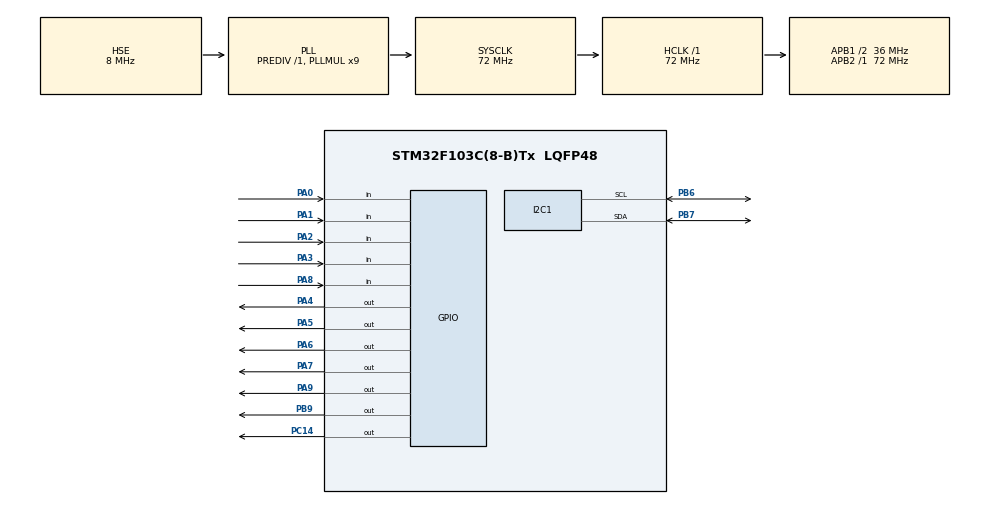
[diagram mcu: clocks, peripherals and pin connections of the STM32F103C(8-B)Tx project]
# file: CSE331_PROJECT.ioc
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I2C1.I2C_Mode=I2C_Fast
Mcu.Family=STM32F1
Mcu.Name=STM32F103C(8-B)Tx
Mcu.Package=LQFP48
NVIC.PriorityGroup=NVIC_PRIORITYGROUP_4
PA0-WKUP.Signal=GPIO_Input
PA1.Signal=GPIO_Input
PA13.Mode=Serial_Wire
PA13.Signal=SYS_JTMS-SWDIO
PA14.Mode=Serial_Wire
PA14.Signal=SYS_JTCK-SWCLK
PA2.Signal=GPIO_Input
PA3.Signal=GPIO_Input
PA4.Signal=GPIO_Output
PA5.Signal=GPIO_Output
PA6.Signal=GPIO_Output
PA7.Signal=GPIO_Output
PA8.Signal=GPIO_Input
PA9.Signal=GPIO_Output
PB6.Mode=I2C
PB6.Signal=I2C1_SCL
PB7.Mode=I2C
PB7.Signal=I2C1_SDA
PB9.Signal=GPIO_Output
PC14-OSC32_IN.Signal=GPIO_Output
PD0-OSC_IN.Mode=HSE-External-Oscillator
PD0-OSC_IN.Signal=RCC_OSC_IN
PD1-OSC_OUT.Mode=HSE-External-Oscillator
PD1-OSC_OUT.Signal=RCC_OSC_OUT
ProjectManager.HeapSize=0x200
ProjectManager.StackSize=0x400
ProjectManager.TargetToolchain=MDK-ARM V5.32
RCC.AHBFreq_Value=72000000
RCC.APB1CLKDivider=RCC_HCLK_DIV2
RCC.APB1Freq_Value=36000000
RCC.APB1TimFreq_Value=72000000
RCC.APB2Freq_Value=72000000
RCC.APB2TimFreq_Value=72000000
RCC.HCLKFreq_Value=72000000
RCC.PLLMUL=RCC_PLL_MUL9
RCC.PLLSourceVirtual=RCC_PLLSOURCE_HSE
RCC.SYSCLKFreq_VALUE=72000000
RCC.SYSCLKSource=RCC_SYSCLKSOURCE_PLLCLK
RCC.USBFreq_Value=72000000
TIM1.Prescaler=71
VP_TIM1_VS_ClockSourceINT.Mode=Internal
board=custom

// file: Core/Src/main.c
/* USER CODE BEGIN Header */
/**
  ******************************************************************************
  * @file           : main.c
  * @brief          : Main program body
  ******************************************************************************
  * @attention
  *
  * Copyright (c) 2025 STMicroelectronics.
  * All rights reserved.
  *
  * This software is licensed under terms that can be found in the LICENSE file
  * in the root directory of this software component.
  * If no LICENSE file comes with this software, it is provided AS-IS.
  *
  ******************************************************************************
  */
/* USER CODE END Header */
#include "main.h"
#include <stdlib.h>
#include <stdio.h>

/* USER CODE BEGIN Includes */
#include "fonts.h"
#include "ssd1306.h"

/* Private includes ----------------------------------------------------------*/
/* USER CODE BEGIN Includes */

/* USER CODE END Includes */

/* USER CODE BEGIN PD */
#define R1_GPIO_Port GPIOA
#define R1_Pin GPIO_PIN_7

#define R2_GPIO_Port GPIOA
#define R2_Pin GPIO_PIN_6

#define R3_GPIO_Port GPIOA
#define R3_Pin GPIO_PIN_5

#define R4_GPIO_Port GPIOA
#define R4_Pin GPIO_PIN_4

#define C1_GPIO_Port GPIOA
#define C1_Pin GPIO_PIN_3

#define C2_GPIO_Port GPIOA
#define C2_Pin GPIO_PIN_2

#define C3_GPIO_Port GPIOA
#define C3_Pin GPIO_PIN_1

#define C4_GPIO_Port GPIOA
#define C4_Pin GPIO_PIN_0

/* USER CODE END PD */

I2C_HandleTypeDef hi2c1;

TIM_HandleTypeDef htim1;

/* USER CODE BEGIN PV */
#define TRIG_PIN GPIO_PIN_9
#define TRIG_PORT GPIOA
#define ECHO_PIN GPIO_PIN_8
#define ECHO_PORT GPIOA
uint32_t pMillis;
uint32_t Value1 = 0;
uint32_t Value2 = 0;
uint16_t Distance  = 0;  // cm

/* USER CODE END PV */

void SystemClock_Config(void);
static void MX_GPIO_Init(void);
static void MX_I2C1_Init(void);
static void MX_TIM1_Init(void);

/* USER CODE BEGIN 0 */
char read_keypad (void)
{
	/* Make ROW 1 LOW and all other ROWs HIGH */
	HAL_GPIO_WritePin (R1_GPIO_Port, R1_Pin, GPIO_PIN_RESET);  //Pull the R1 low
	HAL_GPIO_WritePin (R2_GPIO_Port, R2_Pin, GPIO_PIN_SET);  // Pull the R2 High
	HAL_GPIO_WritePin (R3_GPIO_Port, R3_Pin, GPIO_PIN_SET);  // Pull the R3 High
	HAL_GPIO_WritePin (R4_GPIO_Port, R4_Pin, GPIO_PIN_SET);  // Pull the R4 High

	if (!(HAL_GPIO_ReadPin (C1_GPIO_Port, C1_Pin)))   // if the Col 1 is low
	{
		while (!(HAL_GPIO_ReadPin (C1_GPIO_Port, C1_Pin)));   // wait till the button is pressed
		return 'D';
	}

	if (!(HAL_GPIO_ReadPin (C2_GPIO_Port, C2_Pin)))   // if the Col 2 is low
	{
		while (!(HAL_GPIO_ReadPin (C2_GPIO_Port, C2_Pin)));   // wait till the button is pressed
		return 'C';
	}

	if (!(HAL_GPIO_ReadPin (C3_GPIO_Port, C3_Pin)))   // if the Col 3 is low
	{
		while (!(HAL_GPIO_ReadPin (C3_GPIO_Port, C3_Pin)));   // wait till the button is pressed
		return 'B';
	}

	if (!(HAL_GPIO_ReadPin (C4_GPIO_Port, C4_Pin)))   // if the Col 4 is low
	{
		while (!(HAL_GPIO_ReadPin (C4_GPIO_Port, C4_Pin)));   // wait till the button is pressed
		return 'A';
	}

	/* Make ROW 2 LOW and all other ROWs HIGH */
	HAL_GPIO_WritePin (R1_GPIO_Port, R1_Pin, GPIO_PIN_SET);  //Pull the R1 low
	HAL_GPIO_WritePin (R2_GPIO_Port, R2_Pin, GPIO_PIN_RESET);  // Pull the R2 High
	HAL_GPIO_WritePin (R3_GPIO_Port, R3_Pin, GPIO_PIN_SET);  // Pull the R3 High
	HAL_GPIO_WritePin (R4_GPIO_Port, R4_Pin, GPIO_PIN_SET);  // Pull the R4 High

	if (!(HAL_GPIO_ReadPin (C1_GPIO_Port, C1_Pin)))   // if the Col 1 is low
	{
		while (!(HAL_GPIO_ReadPin (C1_GPIO_Port, C1_Pin)));   // wait till the button is pressed
		return '#';
	}

	if (!(HAL_GPIO_ReadPin (C2_GPIO_Port, C2_Pin)))   // if the Col 2 is low
	{
		while (!(HAL_GPIO_ReadPin (C2_GPIO_Port, C2_Pin)));   // wait till the button is pressed
		return '9';
	}

	if (!(HAL_GPIO_ReadPin (C3_GPIO_Port, C3_Pin)))   // if the Col 3 is low
	{
		while (!(HAL_GPIO_ReadPin (C3_GPIO_Port, C3_Pin)));   // wait till the button is pressed
		return '6';
	}

	if (!(HAL_GPIO_ReadPin (C4_GPIO_Port, C4_Pin)))   // if the Col 4 is low
	{
		while (!(HAL_GPIO_ReadPin (C4_GPIO_Port, C4_Pin)));   // wait till the button is pressed
		return '3';
	}

	/* Make ROW 3 LOW and all other ROWs HIGH */
	HAL_GPIO_WritePin (R1_GPIO_Port, R1_Pin, GPIO_PIN_SET);  //Pull the R1 low
	HAL_GPIO_WritePin (R2_GPIO_Port, R2_Pin, GPIO_PIN_SET);  // Pull the R2 High
	HAL_GPIO_WritePin (R3_GPIO_Port, R3_Pin, GPIO_PIN_RESET);  // Pull the R3 High
	HAL_GPIO_WritePin (R4_GPIO_Port, R4_Pin, GPIO_PIN_SET);  // Pull the R4 High

	if (!(HAL_GPIO_ReadPin (C1_GPIO_Port, C1_Pin)))   // if the Col 1 is low
	{
		while (!(HAL_GPIO_ReadPin (C1_GPIO_Port, C1_Pin)));   // wait till the button is pressed
		return '0';
	}

	if (!(HAL_GPIO_ReadPin (C2_GPIO_Port, C2_Pin)))   // if the Col 2 is low
	{
		while (!(HAL_GPIO_ReadPin (C2_GPIO_Port, C2_Pin)));   // wait till the button is pressed
		return '8';
	}

	if (!(HAL_GPIO_ReadPin (C3_GPIO_Port, C3_Pin)))   // if the Col 3 is low
	{
		while (!(HAL_GPIO_ReadPin (C3_GPIO_Port, C3_Pin)));   // wait till the button is pressed
		return '5';
	}

	if (!(HAL_GPIO_ReadPin (C4_GPIO_Port, C4_Pin)))   // if the Col 4 is low
	{
		while (!(HAL_GPIO_ReadPin (C4_GPIO_Port, C4_Pin)));   // wait till the button is pressed
		return '2';
	}

	/* Make ROW 4 LOW and all other ROWs HIGH */
	HAL_GPIO_WritePin (R1_GPIO_Port, R1_Pin, GPIO_PIN_SET);  //Pull the R1 low
	HAL_GPIO_WritePin (R2_GPIO_Port, R2_Pin, GPIO_PIN_SET);  // Pull the R2 High
	HAL_GPIO_WritePin (R3_GPIO_Port, R3_Pin, GPIO_PIN_SET);  // Pull the R3 High
	HAL_GPIO_WritePin (R4_GPIO_Port, R4_Pin, GPIO_PIN_RESET);  // Pull the R4 High

	if (!(HAL_GPIO_ReadPin (C1_GPIO_Port, C1_Pin)))   // if the Col 1 is low
	{
		while (!(HAL_GPIO_ReadPin (C1_GPIO_Port, C1_Pin)));   // wait till the button is pressed
		return '*';
	}

	if (!(HAL_GPIO_ReadPin (C2_GPIO_Port, C2_Pin)))   // if the Col 2 is low
	{
		while (!(HAL_GPIO_ReadPin (C2_GPIO_Port, C2_Pin)));   // wait till the button is pressed
		return '7';
	}

	if (!(HAL_GPIO_ReadPin (C3_GPIO_Port, C3_Pin)))   // if the Col 3 is low
	{
		while (!(HAL_GPIO_ReadPin (C3_GPIO_Port, C3_Pin)));   // wait till the button is pressed
		return '4';
	}

	if (!(HAL_GPIO_ReadPin (C4_GPIO_Port, C4_Pin)))   // if the Col 4 is low
	{
		while (!(HAL_GPIO_ReadPin (C4_GPIO_Port, C4_Pin)));   // wait till the button is pressed
		return '1';
	}

	return 0x01;  // /if nothing is pressed

}

uint8_t key;
/* USER CODE END 0 */

int main(void)
{

  /* MCU Configuration--------------------------------------------------------*/

  /* Reset of all peripherals, Initializes the Flash interface and the Systick. */
  HAL_Init();

  /* Configure the system clock */
  SystemClock_Config();

  /* Initialize all configured peripherals */
  MX_GPIO_Init();
  MX_I2C1_Init();
  MX_TIM1_Init();
  /* USER CODE BEGIN 2 */

	SSD1306_Init();
  char snum[5];
	// Knum to hold the key
	char knum[5];

  SSD1306_GotoXY (0,0);
  SSD1306_Puts ("Distance cm", &Font_11x18, 1);

	//IR sensor code
	HAL_TIM_Base_Start(&htim1);
  HAL_GPIO_WritePin(TRIG_PORT, TRIG_PIN, GPIO_PIN_RESET);

  /* USER CODE END 2 */

  /* Infinite loop */
  while (1)
  {
			HAL_GPIO_WritePin(TRIG_PORT, TRIG_PIN, GPIO_PIN_SET);  // pull the TRIG pin HIGH
    __HAL_TIM_SET_COUNTER(&htim1, 0);
    while (__HAL_TIM_GET_COUNTER (&htim1) < 10);  // wait for 10 us
    HAL_GPIO_WritePin(TRIG_PORT, TRIG_PIN, GPIO_PIN_RESET);  // pull the TRIG pin low

    pMillis = HAL_GetTick(); // used this to avoid infinite while loop  (for timeout)
    // wait for the echo pin to go high
    while (!(HAL_GPIO_ReadPin (ECHO_PORT, ECHO_PIN)) && pMillis + 10 >  HAL_GetTick());
    Value1 = __HAL_TIM_GET_COUNTER (&htim1);

    pMillis = HAL_GetTick(); // used this to avoid infinite while loop (for timeout)
    // wait for the echo pin to go low
    while ((HAL_GPIO_ReadPin (ECHO_PORT, ECHO_PIN)) && pMillis + 50 > HAL_GetTick());
    Value2 = __HAL_TIM_GET_COUNTER (&htim1);

    Distance = (Value2-Value1)* 0.034/2;

		key = read_keypad ();
		if(key!= 0x01)
		{
				SSD1306_Clear();
				sprintf(knum, "%c", key);
				SSD1306_GotoXY (0, 0);
				SSD1306_Puts ("Key pressed:", &Font_11x18, 1);
				SSD1306_GotoXY (0, 30);
				SSD1306_Puts (knum, &Font_11x18, 1);
				SSD1306_UpdateScreen();
				HAL_Delay(800);

				SSD1306_GotoXY (0,0);
				SSD1306_Puts ("Distance cm", &Font_11x18, 1);
		}

		// key is ascii value. So -48 to convert to number
		if(Distance< (key-48)){
			HAL_GPIO_WritePin(GPIOC, GPIO_PIN_14, 1);

		}
		else{
			HAL_GPIO_WritePin(GPIOC, GPIO_PIN_14, 0);
		}

			sprintf(snum, "%d", Distance);
			SSD1306_GotoXY (0, 30);
			SSD1306_Puts ("             ", &Font_16x26, 1);
			SSD1306_UpdateScreen();
			if(Distance < 10) {
				SSD1306_GotoXY (53, 30);  // 1 DIGIT
			}
			else if (Distance < 100 ) {
				SSD1306_GotoXY (45, 30);  // 2 DIGITS
			}
			else if (Distance < 1000 ) {
				SSD1306_GotoXY (37, 30);  // 3 DIGITS
			}
			else {
				SSD1306_GotoXY (30, 30);  // 4 DIGIS
			}
			SSD1306_Puts (snum, &Font_16x26, 1);

			SSD1306_UpdateScreen();
			HAL_Delay (100);
	  //}

  }
}

void SystemClock_Config(void)
{
  RCC_OscInitTypeDef RCC_OscInitStruct = {0};
  RCC_ClkInitTypeDef RCC_ClkInitStruct = {0};

  /** Initializes the RCC Oscillators according to the specified parameters
  * in the RCC_OscInitTypeDef structure.
  */
  RCC_OscInitStruct.OscillatorType = RCC_OSCILLATORTYPE_HSE;
  RCC_OscInitStruct.HSEState = RCC_HSE_ON;
  RCC_OscInitStruct.HSEPredivValue = RCC_HSE_PREDIV_DIV1;
  RCC_OscInitStruct.HSIState = RCC_HSI_ON;
  RCC_OscInitStruct.PLL.PLLState = RCC_PLL_ON;
  RCC_OscInitStruct.PLL.PLLSource = RCC_PLLSOURCE_HSE;
  RCC_OscInitStruct.PLL.PLLMUL = RCC_PLL_MUL9;
  if (HAL_RCC_OscConfig(&RCC_OscInitStruct) != HAL_OK)
  {
    Error_Handler();
  }

  /** Initializes the CPU, AHB and APB buses clocks
  */
  RCC_ClkInitStruct.ClockType = RCC_CLOCKTYPE_HCLK|RCC_CLOCKTYPE_SYSCLK
                              |RCC_CLOCKTYPE_PCLK1|RCC_CLOCKTYPE_PCLK2;
  RCC_ClkInitStruct.SYSCLKSource = RCC_SYSCLKSOURCE_PLLCLK;
  RCC_ClkInitStruct.AHBCLKDivider = RCC_SYSCLK_DIV1;
  RCC_ClkInitStruct.APB1CLKDivider = RCC_HCLK_DIV2;
  RCC_ClkInitStruct.APB2CLKDivider = RCC_HCLK_DIV1;

  if (HAL_RCC_ClockConfig(&RCC_ClkInitStruct, FLASH_LATENCY_2) != HAL_OK)
  {
    Error_Handler();
  }
}

static void MX_I2C1_Init(void)
{

  hi2c1.Instance = I2C1;
  hi2c1.Init.ClockSpeed = 400000;
  hi2c1.Init.DutyCycle = I2C_DUTYCYCLE_2;
  hi2c1.Init.OwnAddress1 = 0;
  hi2c1.Init.AddressingMode = I2C_ADDRESSINGMODE_7BIT;
  hi2c1.Init.DualAddressMode = I2C_DUALADDRESS_DISABLE;
  hi2c1.Init.OwnAddress2 = 0;
  hi2c1.Init.GeneralCallMode = I2C_GENERALCALL_DISABLE;
  hi2c1.Init.NoStretchMode = I2C_NOSTRETCH_DISABLE;
  if (HAL_I2C_Init(&hi2c1) != HAL_OK)
  {
    Error_Handler();
  }

}

static void MX_TIM1_Init(void)
{

  TIM_ClockConfigTypeDef sClockSourceConfig = {0};
  TIM_MasterConfigTypeDef sMasterConfig = {0};

  htim1.Instance = TIM1;
  htim1.Init.Prescaler = 71;
  htim1.Init.CounterMode = TIM_COUNTERMODE_UP;
  htim1.Init.Period = 65535;
  htim1.Init.ClockDivision = TIM_CLOCKDIVISION_DIV1;
  htim1.Init.RepetitionCounter = 0;
  htim1.Init.AutoReloadPreload = TIM_AUTORELOAD_PRELOAD_DISABLE;
  if (HAL_TIM_Base_Init(&htim1) != HAL_OK)
  {
    Error_Handler();
  }
  sClockSourceConfig.ClockSource = TIM_CLOCKSOURCE_INTERNAL;
  if (HAL_TIM_ConfigClockSource(&htim1, &sClockSourceConfig) != HAL_OK)
  {
    Error_Handler();
  }
  sMasterConfig.MasterOutputTrigger = TIM_TRGO_RESET;
  sMasterConfig.MasterSlaveMode = TIM_MASTERSLAVEMODE_DISABLE;
  if (HAL_TIMEx_MasterConfigSynchronization(&htim1, &sMasterConfig) != HAL_OK)
  {
    Error_Handler();
  }

}

static void MX_GPIO_Init(void)
{
  GPIO_InitTypeDef GPIO_InitStruct = {0};

  /* GPIO Ports Clock Enable */
  __HAL_RCC_GPIOC_CLK_ENABLE();
  __HAL_RCC_GPIOD_CLK_ENABLE();
  __HAL_RCC_GPIOA_CLK_ENABLE();
  __HAL_RCC_GPIOB_CLK_ENABLE();

  /*Configure GPIO pin Output Level */
  HAL_GPIO_WritePin(GPIOC, GPIO_PIN_14, GPIO_PIN_RESET);

  /*Configure GPIO pin Output Level */
  HAL_GPIO_WritePin(GPIOA, GPIO_PIN_4|GPIO_PIN_5|GPIO_PIN_6|GPIO_PIN_7
                          |GPIO_PIN_9, GPIO_PIN_RESET);

  /*Configure GPIO pin Output Level */
  HAL_GPIO_WritePin(GPIOB, GPIO_PIN_9, GPIO_PIN_RESET);

  /*Configure GPIO pin : PC14 */
  GPIO_InitStruct.Pin = GPIO_PIN_14;
  GPIO_InitStruct.Mode = GPIO_MODE_OUTPUT_PP;
  GPIO_InitStruct.Pull = GPIO_NOPULL;
  GPIO_InitStruct.Speed = GPIO_SPEED_FREQ_LOW;
  HAL_GPIO_Init(GPIOC, &GPIO_InitStruct);

  /*Configure GPIO pins : PA0 PA1 PA2 PA3
                           PA8 */
  GPIO_InitStruct.Pin = GPIO_PIN_0|GPIO_PIN_1|GPIO_PIN_2|GPIO_PIN_3
                          |GPIO_PIN_8;
  //GPIO_InitStruct.Mode = GPIO_MODE_INPUT;
  //GPIO_InitStruct.Pull = GPIO_NOPULL;
	GPIO_InitStruct.Mode = GPIO_MODE_INPUT;
	GPIO_InitStruct.Pull = GPIO_PULLUP;
  HAL_GPIO_Init(GPIOA, &GPIO_InitStruct);

  /*Configure GPIO pins : PA4 PA5 PA6 PA7
                           PA9 */
  GPIO_InitStruct.Pin = GPIO_PIN_4|GPIO_PIN_5|GPIO_PIN_6|GPIO_PIN_7
                          |GPIO_PIN_9;
  GPIO_InitStruct.Mode = GPIO_MODE_OUTPUT_PP;
  GPIO_InitStruct.Pull = GPIO_NOPULL;
  GPIO_InitStruct.Speed = GPIO_SPEED_FREQ_LOW;
  HAL_GPIO_Init(GPIOA, &GPIO_InitStruct);

  /*Configure GPIO pin : PB9 */
  GPIO_InitStruct.Pin = GPIO_PIN_9;
  GPIO_InitStruct.Mode = GPIO_MODE_OUTPUT_PP;
  GPIO_InitStruct.Pull = GPIO_NOPULL;
  GPIO_InitStruct.Speed = GPIO_SPEED_FREQ_LOW;
  HAL_GPIO_Init(GPIOB, &GPIO_InitStruct);

}

void Error_Handler(void)
{
  __disable_irq();
  while (1)
  {
  }
}
